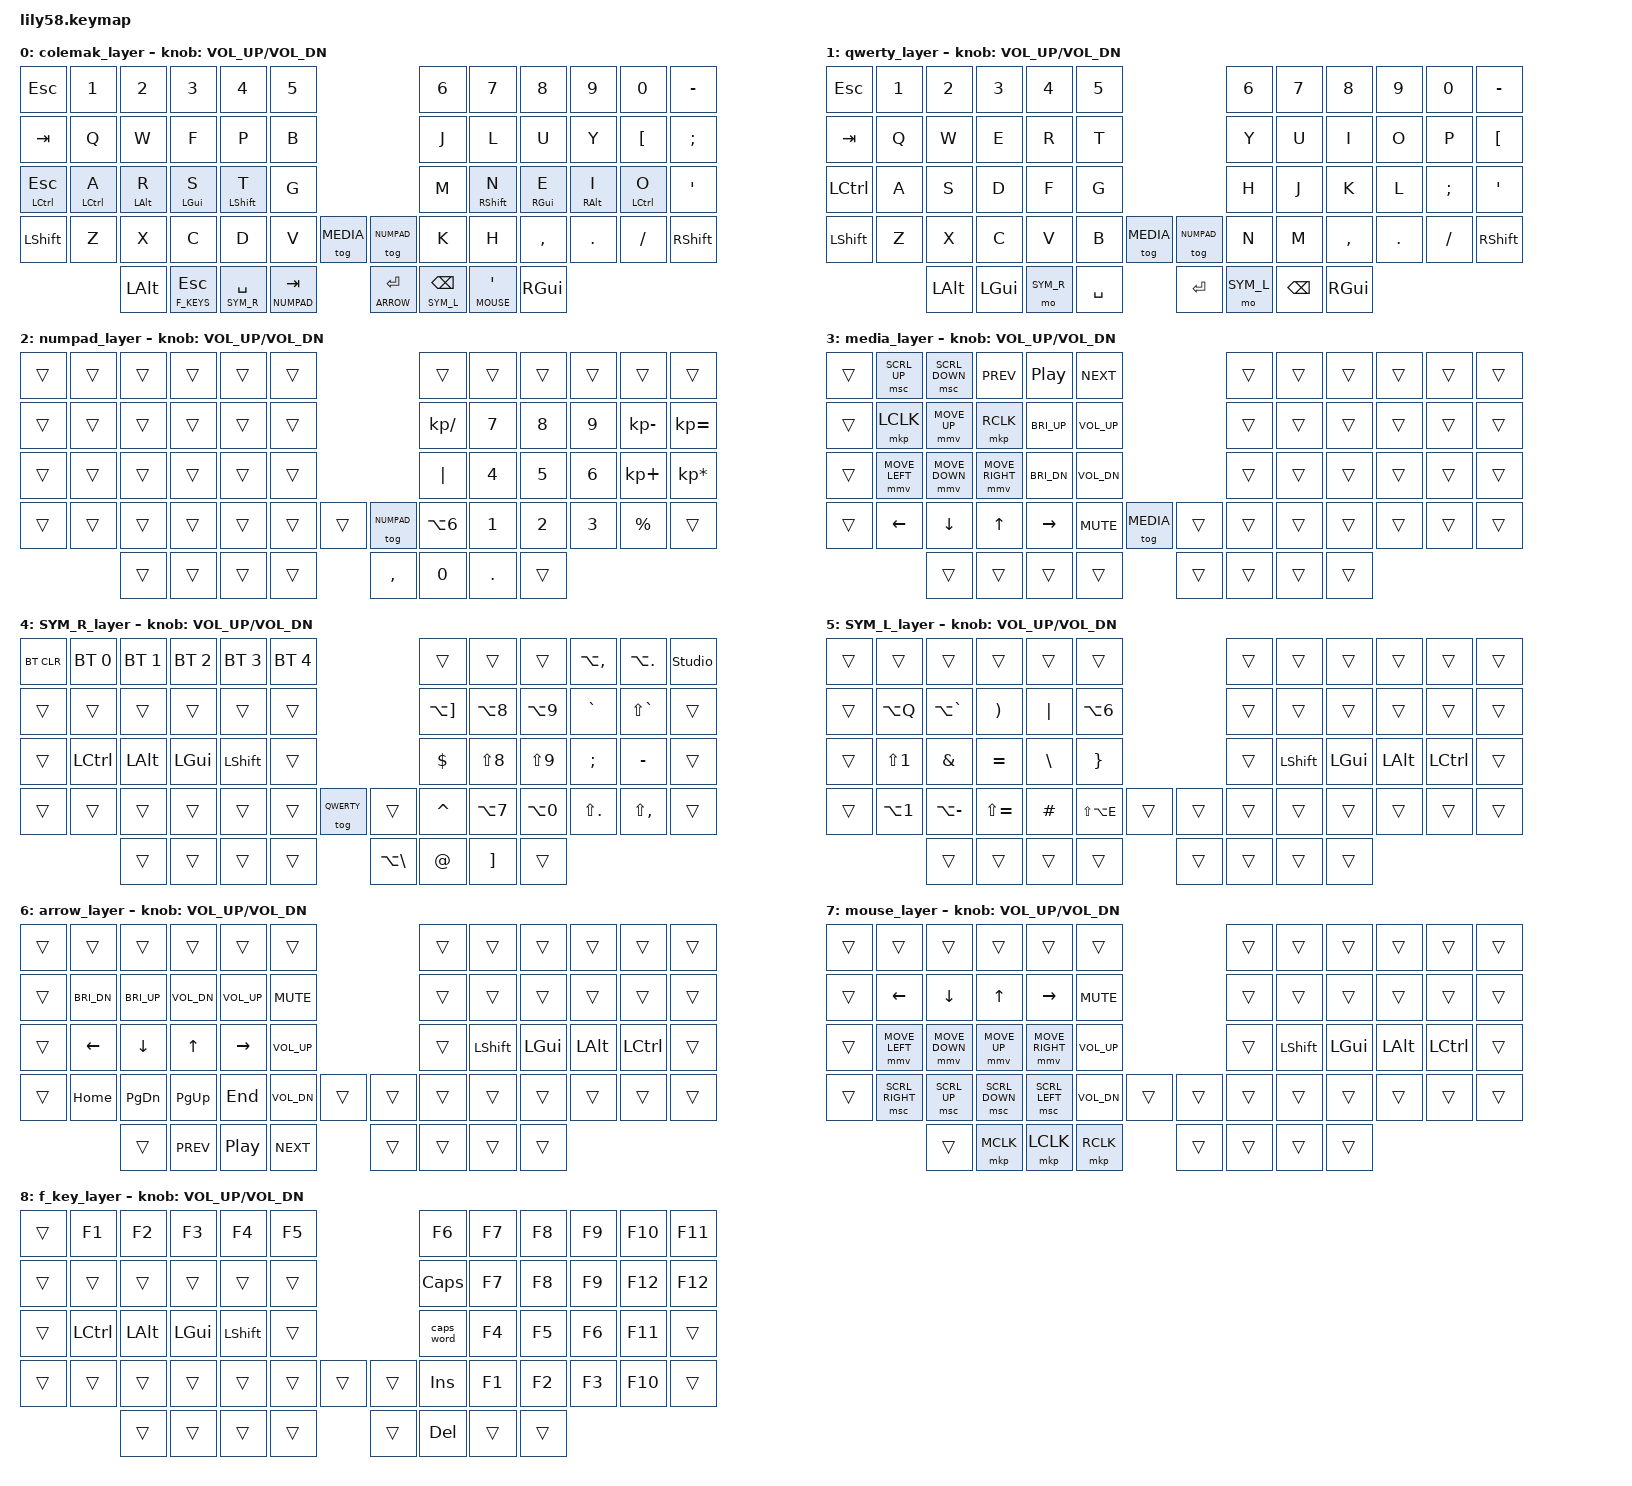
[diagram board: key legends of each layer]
/*
 * Copyright (c) 2020 The ZMK Contributors
 *
 * SPDX-License-Identifier: MIT
 */

#include <behaviors.dtsi>
#include <dt-bindings/zmk/keys.h>
#include <dt-bindings/zmk/bt.h>
#include <dt-bindings/zmk/ext_power.h>
#define ZMK_POINTING_DEFAULT_MOVE_VAL 1500
#define ZMK_POINTING_DEFAULT_SCRL_VAL 20
#include <dt-bindings/zmk/mouse.h>

#define COLEMAK 0
#define QWERTY 1
#define NUMPAD 2
#define MEDIA 3
#define SYM_R 4
#define SYM_L 5
#define ARROW 6
#define MOUSE 7
#define F_KEYS 8

/ {
    combos {
        compatible = "zmk,combos";
        combo_caps {
            timeout-ms = <50>;
            key-positions = <36 49>;
            bindings = <&kp CAPS>;
        };
    };
};

&lt {
    quick-tap-ms = <200>;
};

/ {
    behaviors {
        hm: homerow_mods {
            compatible = "zmk,behavior-hold-tap";
            label = "HOMEROW_MODS";
            #binding-cells = <2>;
            tapping-term-ms = <250>;
            quick-tap-ms = <0>;
            require-prior-idle-ms = <150>;
            flavor = "tap-preferred";
            bindings = <&kp>, <&kp>;
        };

        hms: homerow_mods_shift {
            compatible = "zmk,behavior-hold-tap";
            label = "HOMEROW_MODS_SHIFT";
            #binding-cells = <2>;
            tapping-term-ms = <250>;
            quick-tap-ms = <0>;
            flavor = "tap-preferred";
            bindings = <&kp>, <&kp>;
        };
    };

    keymap {
        compatible = "zmk,keymap";

/*
 * Icelandic letter bindings 
 *  | Letter  | Command |
 *  |---------|---------| 
 *  |    Ð    |  LBKT   | 
 *  |    Þ    |  FSLH   | 
 *  |    Æ    |  SEMI   | 
 *  |    Ö    |  MINUS  | 
 * See symbols at bottom of file
 */

        colemak_layer {
// --ENGLISH---------------------------------------------------------------------------------------------------
// |  ESC  |  1  |  2  |  3   |  4   |  5   |                    |  6   |  7    |  8    |  9   |   0   |   -   |
// |  TAB  |  Q  |  W  |  F   |  P   |  B   |                    |  J   |  L    |  U    |  Y   |  "["  |   ;   |
// |  CTRL |  A  |  R  |  S   |  T   |  G   |                    |  M   |  N    |  E    |  I   |   O   |   '   |
// | SHIFT |  Z  |  X  |  C   |  D   |  V   |  MEDIA |  | NUMPAD |  K   |  H    |  ,    |  .   |   /   | SHIFT |
//                     | ALT  | GUI  | SYM_R|  SPACE |  | ENTER  | SYM_L| BSPC  | GUI   |
// --ICELANDIC-------------------------------------------------------------------------------------------------
// |  ESC  |  1  |  2  |  3   |  4   |  5   |                    |  6   |  7    |  8    |  9   |   0   |   Ö   |
// |  TAB  |  Q  |  W  |  F   |  P   |  B   |                    |  J   |  L    |  U    |  Y   |   Ð   |   Æ   |
// |  CTRL |  A  |  R  |  S   |  T   |  G   |                    |  M   |  N    |  E    |  I   |   O   |   ´   |
// | SHIFT |  Z  |  X  |  C   |  D   |  V   |  MEDIA |  | NUMPAD |  K   |  H    |  ,    |  .   |   Þ   | SHIFT |
// before              | ALT  | GUI  | SYM_R|  SPACE |  | ENTER  | SYM_L| BSPC  | GUI   |
// after               | ALT  | ESC  | SPACE|   TAB  |  | ENTER  | BSPC |  ´    | GUI |
            bindings = <
&kp ESC       &kp N1       &kp N2      &kp N3      &kp N4        &kp N5                               &kp N6     &kp N7        &kp N8      &kp N9      &kp N0       &kp MINUS
&kp TAB       &kp Q        &kp W       &kp F       &kp P         &kp B                                &kp J      &kp L         &kp U       &kp Y       &kp LBKT     &kp SEMI
&mt LCTRL ESC &hm LCTRL A  &hm LALT R  &hm LGUI S  &hms LSHIFT T  &kp G                                &kp M      &hms RSHIFT N  &hm RGUI E  &hm RALT I  &hm LCTRL O  &kp SQT
&kp LSHFT     &kp Z        &kp X       &kp C       &kp D         &kp V  &tog MEDIA      &tog NUMPAD   &kp K      &kp H         &kp COMMA   &kp DOT     &kp FSLH     &kp RSHFT
                             &kp LALT  &lt F_KEYS ESC  &lt SYM_R SPACE  &lt NUMPAD TAB  &lt ARROW RET &lt SYM_L BSPC  &lt MOUSE SQT  &kp RGUI
            >;

            sensor-bindings = <&inc_dec_kp C_VOL_UP C_VOL_DN>;
        };
        
        qwerty_layer {
// --ENGLISH---------------------------------------------------------------------------------------------------
// |  ESC  |  1  |  2  |  3   |  4   |  5   |                    |  6   |  7    |  8    |  9   |   0   |   -   |
// |  TAB  |  Q  |  W  |  E   |  R   |  T   |                    |  Y   |  U    |  I    |  O   |   P   |  "["  |
// |  CTRL |  A  |  S  |  D   |  F   |  G   |                    |  H   |  J    |  K    |  L   |   ;   |   '   |
// | SHIFT |  Z  |  X  |  C   |  V   |  B   |  MEDIA |  | NUMPAD |  N   |  M    |  ,    |  .   |   /   | SHIFT |
//                     | ALT  | GUI  | SYM_R|  SPACE |  | ENTER  | SYM_L| BSPC  | GUI   |
// --ICELANDIC-------------------------------------------------------------------------------------------------
// |  ESC  |  1  |  2  |  3   |  4   |  5   |                    |  6   |  7    |  8    |  9   |   0   |   Ö   |
// |  TAB  |  Q  |  W  |  E   |  R   |  T   |                    |  Y   |  U    |  I    |  O   |   P   |   Ð   |
// |  CTRL |  A  |  S  |  D   |  F   |  G   |                    |  H   |  J    |  K    |  L   |   Æ   |   ´   |
// | SHIFT |  Z  |  X  |  C   |  V   |  B   |  MEDIA |  | NUMPAD |  N   |  M    |  ,    |  .   |   Þ   | SHIFT |
//                     | ALT  | GUI  | SYM_R|  SPACE |  |  ENTER | SYM_L| BSPC  | GUI   |
            bindings = <
&kp ESC       &kp N1 &kp N2 &kp N3   &kp N4   &kp N5                            &kp N6     &kp N7   &kp N8    &kp N9  &kp N0   &kp MINUS
&kp TAB       &kp Q  &kp W  &kp E    &kp R    &kp T                             &kp Y      &kp U    &kp I     &kp O   &kp P    &kp LBKT
&kp LCTRL     &kp A  &kp S  &kp D    &kp F    &kp G                             &kp H      &kp J    &kp K     &kp L   &kp SEMI &kp SQT
&kp LSHFT     &kp Z  &kp X  &kp C    &kp V    &kp B     &tog MEDIA  &tog NUMPAD &kp N      &kp M    &kp COMMA &kp DOT &kp FSLH &kp RSHFT
                            &kp LALT &kp LGUI &mo SYM_R &kp SPACE   &kp RET     &mo SYM_L  &kp BSPC &kp RGUI
            >;

            sensor-bindings = <&inc_dec_kp C_VOL_UP C_VOL_DN>;
        };

        numpad_layer {
// ------------------------------------------------------------------------------------------------------------
// |       |     |     |     |     |     |                    |      |       |       |      |       |       |
// |       |     |     |     |     |     |                    |  /   |   7   |   8   |  9   |   -   |   =   |
// |       |     |     |     |     |     |                    |  *   |   4   |   5   |  6   |   +   |   *   |
// |       |     |     |     |     |     |        |  | Numpad |  ^   |   1   |   2   |  3   |   %   |       |
//                     |     |     |     |        |  |   ,    |  0   |   .   |       |
            bindings = <
&trans &trans &trans &trans &trans &trans                     &trans       &trans &trans &trans &trans       &trans
&trans &trans &trans &trans &trans &trans                     &kp KP_SLASH &kp N7 &kp N8 &kp N9 &kp KP_MINUS &kp KP_EQUAL
&trans &trans &trans &trans &trans &trans                     &kp PIPE     &kp N4 &kp N5 &kp N6 &kp KP_PLUS  &kp KP_MULTIPLY
&trans &trans &trans &trans &trans &trans &trans  &tog NUMPAD &kp LA(N6)   &kp N1 &kp N2 &kp N3 &kp PRCNT    &trans
                  &trans    &trans &trans &trans  &kp COMMA   &kp N0       &kp DOT   &trans
            >;

            sensor-bindings = <&inc_dec_kp C_VOL_UP C_VOL_DN>;
        };

        media_layer {
// ------------------------------------------------------------------------------------------------------------
// |       | SCRv | SCR^ |  <<  | Play |  >>  |                  |      |      |      |      |       |       |
// |       | LCLK | -^-  | RCLK | Bri+ | VOL+ |                  |      |      |      |      |       |       |
// |       |  <-- | -v-  | -->  | Bri- | VOL- |                  |      |      |      |      |       |       |
// |       |  <-  |  v   |   ^  |  ->  | Mute |        |  |      |      |      |      |      |       |       |
//                       |      |      |      |        |  |      |      |      |      |
            bindings = <
&trans &msc SCRL_UP   &msc SCRL_DOWN &kp C_PREV      &kp C_PP     &kp C_NEXT                       &trans &trans &trans &trans &trans &trans
&trans &mkp LCLK      &mmv MOVE_UP   &mkp RCLK       &kp C_BRI_UP &kp C_VOL_UP                     &trans &trans &trans &trans &trans &trans
&trans &mmv MOVE_LEFT &mmv MOVE_DOWN &mmv MOVE_RIGHT &kp C_BRI_DN &kp C_VOL_DN                     &trans &trans &trans &trans &trans &trans
&trans &kp  LEFT      &kp  DOWN      &kp  UP         &kp RIGHT    &kp C_MUTE   &tog MEDIA  &trans  &trans &trans &trans &trans &trans &trans
                                     &trans          &trans       &trans       &trans      &trans  &trans &trans &trans
            >;

            sensor-bindings = <&inc_dec_kp C_VOL_UP C_VOL_DN>;
        };

        SYM_R_layer {
// --ICELANDIC-------------------------------------------------------------------------------------------------
// | BTCLR | BT1 | BT2 | BT3 | BT4 | BT5 |                     |       |       |       |  ≤   |   ≥   |       |
// |       |     |     |     |     |     |                     |   ~   |   [   |   ]   |  <   |   >   |       |
// |       |     |     |     |     |     |                     |   $   |   (   |   )   |  Æ   |   Ö   |       |
// |       |     |     |     |     |     |         |   |       |   &   |   {   |   }   |  :   |   ;   |       |
//                     |     |     |     |         |   |   `   |   "   |   '   |       |
            bindings = <
&bt BT_CLR &bt BT_SEL 0 &bt BT_SEL 1  &bt BT_SEL 2  &bt BT_SEL 3     &bt BT_SEL 4                    &trans       &trans     &trans        &kp LA(COMMA) &kp LA(DOT)   &studio_unlock
&trans     &trans       &trans        &trans        &trans           &trans                          &kp LA(RBKT) &kp LA(N8) &kp LA(N9)    &kp GRAVE     &kp LS(GRAVE) &trans
&trans     &kp LCTRL    &kp LALT      &kp LGUI      &kp LSHIFT       &trans                          &kp DOLLAR   &kp LS(N8) &kp LS(N9)    &kp SEMI      &kp MINUS     &trans
&trans     &trans       &trans        &trans        &trans           &trans    &tog QWERTY   &trans  &kp CARET    &kp LA(N7) &kp LA(N0)    &kp LS(DOT)   &kp LS(COMMA) &trans
                                      &trans        &trans           &trans    &trans        &kp LA(BSLH) &kp AT  &kp RBKT   &trans
            >;

            sensor-bindings = <&inc_dec_kp C_VOL_UP C_VOL_DN>;
        };

        SYM_L_layer {
// --ICELANDIC-------------------------------------------------------------------------------------------------
// |       |     |     |     |     |      |                    |      |       |       |      |       |       |
// |       |  @  |  |  |  =  |  *  |  ^   |                    |      |       |       |      |       |       |
// |       |  !  |  /  |  -  |  +  |  ?   |                    |      |       |       |      |       |       |
// |       |  ¡  |  \  |  _  |  #  |  ¿   |        |  |        |      |       |       |      |       |       |
//                     |     |     |      |        |  |        |      |       |       |
            bindings = <
&trans &trans     &trans         &trans        &trans    &trans                        &trans   &trans     &trans   &trans   &trans    &trans
&trans &kp LA(Q)  &kp LA(GRAVE)  &kp RPAR      &kp PIPE  &kp LA(N6)                    &trans   &trans     &trans   &trans   &trans    &trans
&trans &kp LS(N1) &kp AMPS       &kp EQUAL     &kp BSLH  &kp RBRC                      &trans   &kp LSHIFT &kp LGUI &kp LALT &kp LCTRL &trans
&trans &kp LA(N1) &kp LA(MINUS)  &kp LS(EQUAL) &kp HASH  &kp LS(LA(E)) &trans   &trans &trans   &trans     &trans   &trans   &trans    &trans
                                 &trans        &trans    &trans        &trans   &trans &trans   &trans     &trans
            >;

            sensor-bindings = <&inc_dec_kp C_VOL_UP C_VOL_DN>;
        };

        arrow_layer {
// ------------------------------------------------------------------------------------------------------------
// |       |      |      |      |      |      |                  |      |      |      |      |       |       |
// |       | BRI- | BRI+ | VOL- | VOL+ | Mute |                  |      |      |      |      |       |       |
// |       |  <-  |  v   |   ^  |  ->  | VOL+ |                  |      |      |      |      |       |       |
// |       | HOME | PGDN | PGUP | END  | VOL- |        |  |      |      |      |      |      |       |       |
//                       |      |  <<  | Play |   >>   |  |      |      |      |      |
            bindings = <
&trans &trans       &trans       &trans       &trans       &trans                          &trans &trans &trans &trans &trans &trans
&trans &kp C_BRI_DN &kp C_BRI_UP &kp C_VOL_DN &kp C_VOL_UP &kp C_MUTE                      &trans &trans &trans &trans &trans &trans
&trans &kp LEFT     &kp DOWN     &kp UP       &kp RIGHT    &kp C_VOL_UP                    &trans &kp LSHIFT &kp LGUI &kp LALT &kp LCTRL &trans
&trans &kp HOME     &kp PG_DN    &kp PG_UP    &kp END      &kp C_VOL_DN &trans     &trans  &trans &trans &trans &trans &trans &trans
                                 &trans       &kp C_PREV   &kp C_PP     &kp C_NEXT &trans  &trans &trans &trans
            >;

            sensor-bindings = <&inc_dec_kp C_VOL_UP C_VOL_DN>;
        };

        mouse_layer {
// ------------------------------------------------------------------------------------------------------------
// |       | SCRv | SCR^ |  <<  | Play |  >>  |                  |      |      |      |      |       |       |
// |       | LCLK | -^-  | RCLK | Bri+ | VOL+ |                  |      |      |      |      |       |       |
// |       |  <-- | -v-  | -->  | Bri- | VOL- |                  |      |      |      |      |       |       |
// |       |  <-  |  v   |   ^  |  ->  | Mute |        |  |      |      |      |      |      |       |       |
//                       |      |      |      |        |  |      |      |      |      |
            bindings = <
&trans &trans          &trans         &trans          &trans          &trans                         &trans &trans &trans &trans &trans &trans
&trans &kp  LEFT       &kp  DOWN      &kp  UP         &kp RIGHT       &kp C_MUTE                     &trans &trans &trans &trans &trans &trans
&trans &mmv MOVE_LEFT  &mmv MOVE_DOWN &mmv MOVE_UP    &mmv MOVE_RIGHT &kp C_VOL_UP                   &trans &kp LSHIFT &kp LGUI &kp LALT &kp LCTRL &trans
&trans &msc SCRL_RIGHT &msc SCRL_UP   &msc SCRL_DOWN  &msc SCRL_LEFT  &kp C_VOL_DN &trans    &trans  &trans &trans &trans &trans &trans &trans
                                      &trans          &mkp MCLK       &mkp LCLK    &mkp RCLK &trans  &trans &trans &trans
            >;

            sensor-bindings = <&inc_dec_kp C_VOL_UP C_VOL_DN>;
        };

        f_key_layer {
// --ICELANDIC---------------------------------------------------------------------------------------------------
// |       |  F1 |  F2 |  F3 |  F4 |  F5  |                    |  F6  |   F7  |  F8   |  F9  |  F10  |  F11  |
// |       |     |     |     |     |      |                    |      |   F7  |  F8   |  F9  |  F12  |  F12  |
// |       |     |     |     |     |      |                    |      |   F4  |  F5   |  F6  |  F11  |       |
// |       |     |     |     |     |      |                    | INS  |   F1  |  F2   |  F3  |  F10  |       |
//                     |     |     |      |        |  |        |      |       |       |
            bindings = <
&trans &kp F1    &kp F2   &kp F3   &kp F4     &kp F5                 &kp F6     &kp F7 &kp F8 &kp F9 &kp F10 &kp F11
&trans &trans    &trans   &trans   &trans     &trans                 &kp CAPS   &kp F7 &kp F8 &kp F9 &kp F12 &kp F12
&trans &kp LCTRL &kp LALT &kp LGUI &kp LSHIFT &trans                 &caps_word &kp F4 &kp F5 &kp F6 &kp F11 &trans
&trans &trans    &trans   &trans   &trans     &trans &trans   &trans &kp INS    &kp F1 &kp F2 &kp F3 &kp F10 &trans
                          &trans   &trans     &trans &trans   &trans &kp DEL    &trans &trans
            >;

            sensor-bindings = <&inc_dec_kp C_VOL_UP C_VOL_DN>;
        };

    };
};

/*
 * Icelandic bindings (Letters and Symbols) 
 * | Letter  | Command |
 * |---------|---------| 
 * |    Ð    |  LBKT   | 
 * |    Þ    |  FSLH   | 
 * |    Æ    |  SEMI   | 
 * |    Ö    |  MINUS  | 
 * |---------|---------| 
 *
 * | Symbols | Command | 
 * |---------|----------------------| 
 * |    (    |  LS(N8)              |     
 * |    )    |  LPAR                |   
 * |    {    |  LA(N7)              |     
 * |    }    |  LA(N0)              |     
 * |    [    |  LA(N8)              |     
 * |    ]    |  LA(N9)              |     
 * |    <    |  GRAVE               |    
 * |    >    |  TILDE               |    
 * |    /    |  AMPS                |   
 * |    \    |  LA(MINUS)           |        
 * |    |    |  LA(GRAVE)           |        
 * |    !    |  EXCL                |   
 * |    "    |  AT                  | 
 * |    #    |  HASH                |   
 * |    $    |  DOLLAR              |     
 * |    £    |  LS(LA(N3)           |     
 * |    %    |  PRCNT               |    
 * |    &    |  CARET               |    
 * |    *    |  KP_MULTIPLY or PIPE |
 * |    =    |  RPAR                |     
 * |    ~    |  LA(RBKT)            |
 * |    -    |  EQUAL               |     
 * |    _    |  LS(EQUAL)           |
 * |    +    |  KP_PLUS or BSLH     |              
 * |    ±    |  LA(LS(BSLH))        |              
 * |    ^    |  LA(N6)              |              
 * |    @    |  LA(Q)               |              
 * |    ?    |  RBRC                |     
 * |    ¿    |  LS(LA(E))           |     
 * |    ´    |  SQT                 | Note: Dead key
 * |    '    |  RBKT                |   
 * |    ’    |  LA(FSLH)            |       
 * |    `    |  LA(BSLH)            | Note: Dead key
 * |    ≤    |  LA(COMMA)           |
 * |    ≥    |  LA(DOT)             |
 * |---------|----------------------| 
 */
